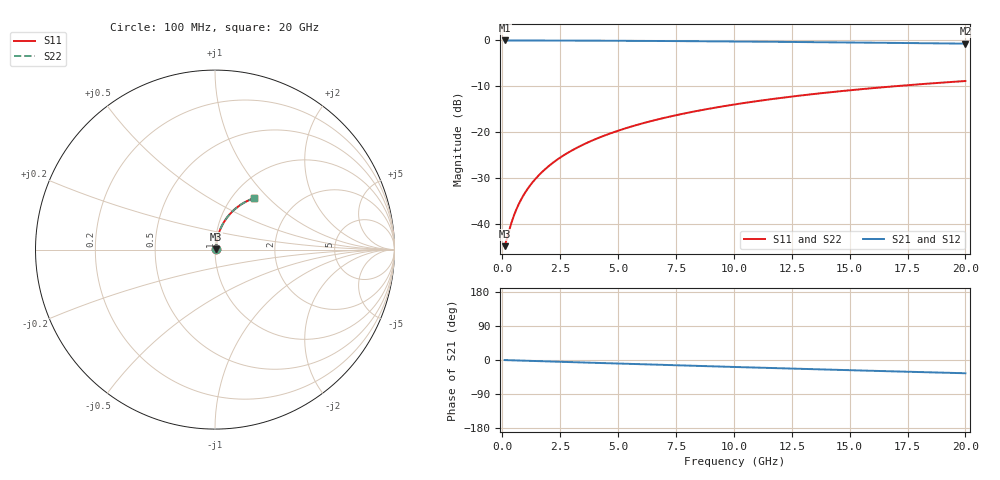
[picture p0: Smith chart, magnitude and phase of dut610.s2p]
! Touchstone file exported from HFSS 2026.1.0
!  File:  C:/ffzhzh/LocalFiles/Ansys_Project_Files/temp_train_BSMRDL_610_1783016226_4048.aedt
!  Generated:  02:18:27 AM Jul  3, 2026
!  Design:  BSMRDL
!  Project:  temp_train_BSMRDL_610_1783016226_4048
! Variables:
!  h_bsmrdl = 3.12um
!  h_ox = 20um
!  h_rdl = 5um
!  h_sub = 80um
!  h_tmrdl = 5um
!  h_tsv = 80um
!  h_via = 3um
!  l_bsmrdl = 493.46um
!  l_sub = 893.46um
!  l_tmrdl = 200um
!  m_sub = 200um
!  pitch = 30.32um
!  r_tsv = 6um
!  s_tmrdl = 10um
!  w_bsmrdl = 10.71um
!  w_sub = 500um
!  w_tmrdl = 12um
!  x_tsv_center1 = 206um
!  x_tsv_center2 = 710.17um
!  x_tsv_center3 = 922.17um
!  x_tsv_center4 = 1426.34um
!  x_tsv_center5 = 1638.34um
!  x_tsv_center6 = 2142.51um
# GHz S MA R 50.000000
! Terminal data exported
! Port[1] = BSM_RDL1_1_T1
! Port[2] = BSM_RDL1_1_T2
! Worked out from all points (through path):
!   200 points, 100 MHz to 20 GHz, reference 50 ohm
!   highest |S21| = -0.05 dB at 100 MHz (marker M1); lowest = -0.7 dB at 20 GHz (marker M2)
!   group delay of S21, straight-line fit = 4.87 ps
!   lowest |S11| = -44.8 dB at 100 MHz (marker M3), VSWR 1.01, Z = 50.5 + j0.224 ohm
!   |S11| at or under -10 dB: start of sweep to 16.98 GHz
!   |S22| runs from -44.8 to -8.9 dB; largest |S21 - S12| = 2.8e-15
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0.1  0.005733 22.7  0.9947 -0.2  0.9947 -0.2  0.005733 22.7
! Gamma 0 0 0 0
! Port Impedance 50 0 50 0
0.4  0.01039 57.2  0.9945 -0.8  0.9945 -0.8  0.01038 57.2
0.5  0.0123 61.9  0.9943 -1.0  0.9943 -1.0  0.01229 61.9
0.6  0.01425 65.3  0.9942 -1.2  0.9942 -1.2  0.01425 65.3
0.7  0.01623 67.8  0.9941 -1.3  0.9941 -1.3  0.01623 67.8
0.9  0.02022 71.2  0.9939 -1.7  0.9939 -1.7  0.02022 71.2
1.2  0.02627 74.3  0.9936 -2.3  0.9936 -2.3  0.02627 74.3
1.4  0.03032 75.6  0.9934 -2.7  0.9934 -2.7  0.03032 75.6
1.7  0.03643 76.8  0.9931 -3.2  0.9931 -3.2  0.03643 76.8
2.2  0.04665 77.9  0.9925 -4.2  0.9925 -4.2  0.04665 77.9
2.8  0.05894 78.2  0.9916 -5.3  0.9916 -5.3  0.05894 78.2
3.5  0.07323 78.0  0.9904 -6.6  0.9904 -6.6  0.07323 78.0
4.2  0.08745 77.4  0.9889 -7.9  0.9889 -7.9  0.08745 77.4
5  0.1036 76.4  0.987 -9.3  0.987 -9.3  0.1036 76.4
5.9  0.1215 75.2  0.9845 -11.0  0.9845 -11.0  0.1215 75.2
6.8  0.1391 73.8  0.9817 -12.6  0.9817 -12.6  0.1391 73.8
8.3  0.1679 71.4  0.9764 -15.3  0.9764 -15.3  0.1679 71.4
10.1  0.2013 68.5  0.9691 -18.5  0.9691 -18.5  0.2013 68.5
11.7  0.2298 65.9  0.9619 -21.3  0.9619 -21.3  0.2298 65.9
13.4  0.259 63.1  0.9538 -24.2  0.9538 -24.2  0.259 63.1
16.7  0.3119 57.8  0.9366 -29.7  0.9366 -29.7  0.3119 57.8
20  0.3599 52.7  0.9185 -35.0  0.9185 -35.0  0.3599 52.7
